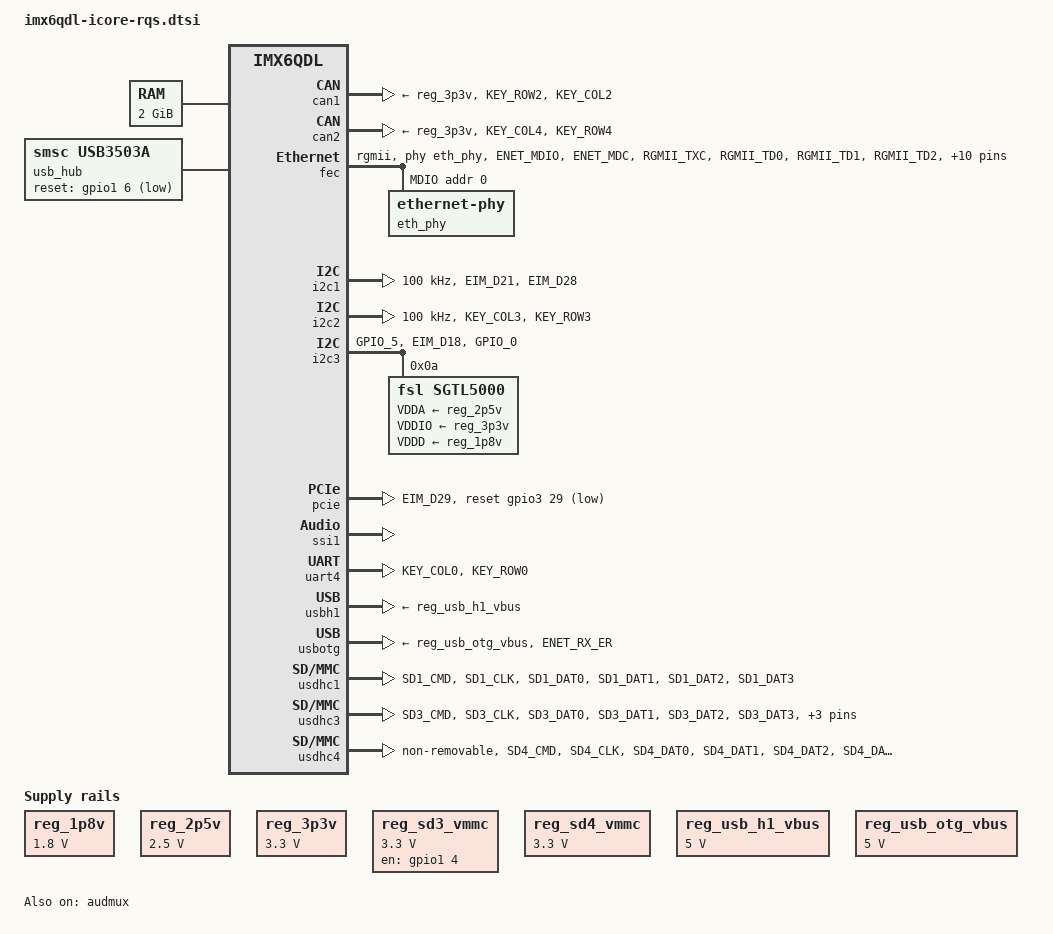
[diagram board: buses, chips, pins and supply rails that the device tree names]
/*
 * Copyright (C) 2015 Amarula Solutions B.V.
 *
 * This file is dual-licensed: you can use it either under the terms
 * of the GPL or the X11 license, at your option. Note that this dual
 * licensing only applies to this file, and not this project as a
 * whole.
 *
 *  a) This file is free software; you can redistribute it and/or
 *     modify it under the terms of the GNU General Public License
 *     version 2 as published by the Free Software Foundation.
 *
 *     This file is distributed in the hope that it will be useful,
 *     but WITHOUT ANY WARRANTY; without even the implied warranty of
 *     MERCHANTABILITY or FITNESS FOR A PARTICULAR PURPOSE.  See the
 *     GNU General Public License for more details.
 *
 * Or, alternatively,
 *
 *  b) Permission is hereby granted, free of charge, to any person
 *     obtaining a copy of this software and associated documentation
 *     files (the "Software"), to deal in the Software without
 *     restriction, including without limitation the rights to use,
 *     copy, modify, merge, publish, distribute, sublicense, and/or
 *     sell copies of the Software, and to permit persons to whom the
 *     Software is furnished to do so, subject to the following
 *     conditions:
 *
 *     The above copyright notice and this permission notice shall be
 *     included in all copies or substantial portions of the Software.
 *
 *     THE SOFTWARE IS PROVIDED "AS IS", WITHOUT WARRANTY OF ANY KIND,
 *     EXPRESS OR IMPLIED, INCLUDING BUT NOT LIMITED TO THE WARRANTIES
 *     OF MERCHANTABILITY, FITNESS FOR A PARTICULAR PURPOSE AND
 *     NONINFRINGEMENT. IN NO EVENT SHALL THE AUTHORS OR COPYRIGHT
 *     HOLDERS BE LIABLE FOR ANY CLAIM, DAMAGES OR OTHER LIABILITY,
 *     WHETHER IN AN ACTION OF CONTRACT, TORT OR OTHERWISE, ARISING
 *     FROM, OUT OF OR IN CONNECTION WITH THE SOFTWARE OR THE USE OR
 *     OTHER DEALINGS IN THE SOFTWARE.
 */

#include <dt-bindings/gpio/gpio.h>
#include <dt-bindings/clock/imx6qdl-clock.h>
#include <dt-bindings/sound/fsl-imx-audmux.h>

/ {
	memory@10000000 {
		reg = <0x10000000 0x80000000>;
	};

	reg_1p8v: regulator-1p8v {
		compatible = "regulator-fixed";
		regulator-name = "1P8V";
		regulator-min-microvolt = <1800000>;
		regulator-max-microvolt = <1800000>;
		regulator-boot-on;
		regulator-always-on;
	};

	reg_2p5v: regulator-2p5v {
		compatible = "regulator-fixed";
		regulator-name = "2P5V";
		regulator-min-microvolt = <2500000>;
		regulator-max-microvolt = <2500000>;
		regulator-boot-on;
		regulator-always-on;
	};

	reg_3p3v: regulator-3p3v {
		compatible = "regulator-fixed";
		regulator-name = "3P3V";
		regulator-min-microvolt = <3300000>;
		regulator-max-microvolt = <3300000>;
		regulator-boot-on;
		regulator-always-on;
	};

	reg_sd3_vmmc: regulator-sd3-vmmc {
		compatible = "regulator-fixed";
		regulator-name = "P3V3_SD3_SWITCHED";
		regulator-min-microvolt = <3300000>;
		regulator-max-microvolt = <3300000>;
		gpio = <&gpio1 4 GPIO_ACTIVE_LOW>;
		enable-active-high;
	};

	reg_sd4_vmmc: regulator-sd4-vmmc {
		compatible = "regulator-fixed";
		regulator-name = "P3V3_SD4_SWITCHED";
		regulator-min-microvolt = <3300000>;
		regulator-max-microvolt = <3300000>;
		regulator-boot-on;
		regulator-always-on;
	};

	reg_usb_h1_vbus: regulator-usb-h1-vbus {
		compatible = "regulator-fixed";
		regulator-name = "usb_h1_vbus";
		regulator-min-microvolt = <5000000>;
		regulator-max-microvolt = <5000000>;
		regulator-boot-on;
		regulator-always-on;
	};

	reg_usb_otg_vbus: regulator-usb-otg-vbus {
		compatible = "regulator-fixed";
		regulator-name = "usb_otg_vbus";
		regulator-min-microvolt = <5000000>;
		regulator-max-microvolt = <5000000>;
		regulator-boot-on;
		regulator-always-on;
	};

	usb_hub: usb-hub {
		compatible = "smsc,usb3503a";
		pinctrl-names = "default";
		pinctrl-0 = <&pinctrl_usbhub>;
		reset-gpios = <&gpio1 6 GPIO_ACTIVE_LOW>;
		clocks = <&clks IMX6QDL_CLK_LVDS2_GATE>;
		clock-names = "refclk";
	};

	sound {
		compatible = "simple-audio-card";
		simple-audio-card,name = "imx6qdl-icore-rqs-sgtl5000";
		simple-audio-card,format = "i2s";
		simple-audio-card,bitclock-master = <&dailink_master>;
		simple-audio-card,frame-master = <&dailink_master>;
		simple-audio-card,widgets =
			"Microphone", "Mic Jack",
			"Headphone", "Headphone Jack",
			"Line", "Line In Jack",
			"Speaker", "Line Out Jack",
			"Speaker", "Ext Spk";
		simple-audio-card,routing =
			"MIC_IN", "Mic Jack",
			"Mic Jack", "Mic Bias",
			"Headphone Jack", "HP_OUT";

		simple-audio-card,cpu {
			sound-dai = <&ssi1>;
		};

		dailink_master: simple-audio-card,codec {
			sound-dai = <&sgtl5000>;
		};
	};
};

&audmux {
	pinctrl-names = "default";
	pinctrl-0 = <&pinctrl_audmux>;
	status = "okay";

	audmux_ssi1 {
		fsl,audmux-port = <MX51_AUDMUX_PORT1_SSI0>;
		fsl,port-config = <
			(IMX_AUDMUX_V2_PTCR_TFSDIR |
			IMX_AUDMUX_V2_PTCR_TFSEL(MX51_AUDMUX_PORT4) |
			IMX_AUDMUX_V2_PTCR_TCLKDIR |
			IMX_AUDMUX_V2_PTCR_TCSEL(MX51_AUDMUX_PORT4) |
			IMX_AUDMUX_V2_PTCR_SYN)
			IMX_AUDMUX_V2_PDCR_RXDSEL(MX51_AUDMUX_PORT4)
		>;
	};

	audmux_aud4 {
		fsl,audmux-port = <MX51_AUDMUX_PORT4>;
		fsl,port-config = <
			IMX_AUDMUX_V2_PTCR_SYN
			IMX_AUDMUX_V2_PDCR_RXDSEL(MX51_AUDMUX_PORT1_SSI0)
		>;
	};
};

&can1 {
	pinctrl-names = "default";
	pinctrl-0 = <&pinctrl_can1>;
	xceiver-supply = <&reg_3p3v>;
	status = "okay";
};

&can2 {
	pinctrl-names = "default";
	pinctrl-0 = <&pinctrl_can2>;
	xceiver-supply = <&reg_3p3v>;
	status = "okay";
};

&clks {
	assigned-clocks = <&clks IMX6QDL_CLK_LVDS2_SEL>;
	assigned-clock-parents = <&clks IMX6QDL_CLK_OSC>;
};

&fec {
	pinctrl-names = "default";
	pinctrl-0 = <&pinctrl_enet>;
	phy-handle = <&eth_phy>;
	phy-mode = "rgmii";
	status = "okay";

	mdio {
		#address-cells = <1>;
		#size-cells = <0>;

		eth_phy: ethernet-phy@0 {
			reg = <0x0>;
			rxc-skew-ps = <1140>;
			txc-skew-ps = <1140>;
			txen-skew-ps = <600>;
			rxdv-skew-ps = <240>;
			rxd0-skew-ps = <420>;
			rxd1-skew-ps = <600>;
			rxd2-skew-ps = <420>;
			rxd3-skew-ps = <240>;
			txd0-skew-ps = <60>;
			txd1-skew-ps = <60>;
			txd2-skew-ps = <60>;
			txd3-skew-ps = <240>;
		};
	};
};

&i2c1 {
	clock-frequency = <100000>;
	pinctrl-names = "default";
	pinctrl-0 = <&pinctrl_i2c1>;
	status = "okay";
};

&i2c2 {
	clock-frequency = <100000>;
	pinctrl-names = "default";
	pinctrl-0 = <&pinctrl_i2c2>;
	status = "okay";
};

&i2c3 {
	pinctrl-names = "default";
	pinctrl-0 = <&pinctrl_i2c3>;
	status = "okay";

	sgtl5000: codec@a {
		#sound-dai-cells = <0>;
		compatible = "fsl,sgtl5000";
		reg = <0x0a>;
		clocks = <&clks IMX6QDL_CLK_CKO>;
		VDDA-supply = <&reg_2p5v>;
		VDDIO-supply = <&reg_3p3v>;
		VDDD-supply = <&reg_1p8v>;
	};
};

&pcie {
	pinctrl-names = "default";
	pinctrl-0 = <&pinctrl_pcie>;
	reset-gpio = <&gpio3 29 GPIO_ACTIVE_LOW>;
	status = "okay";
};

&ssi1 {
	fsl,mode = "i2s-slave";
	status = "okay";
};

&uart4 {
	pinctrl-names = "default";
	pinctrl-0 = <&pinctrl_uart4>;
	status = "okay";
};

&usbh1 {
	vbus-supply = <&reg_usb_h1_vbus>;
	disable-over-current;
	clocks = <&clks IMX6QDL_CLK_USBOH3>;
	status = "okay";
};

&usbotg {
	vbus-supply = <&reg_usb_otg_vbus>;
	pinctrl-names = "default";
	pinctrl-0 = <&pinctrl_usbotg>;
	disable-over-current;
	status = "okay";
};

&usdhc1 {
	pinctrl-names = "default";
	pinctrl-0 = <&pinctrl_usdhc1>;
	no-1-8-v;
	status = "okay";
};

&usdhc3 {
	pinctrl-names = "default", "state_100mhz", "state_200mhz";
	pinctrl-0 = <&pinctrl_usdhc3>;
	pinctrl-1 = <&pinctrl_usdhc3_100mhz>;
	pinctrl-2 = <&pinctrl_usdhc3_200mhz>;
	vmcc-supply = <&reg_sd3_vmmc>;
	cd-gpios = <&gpio1 1 GPIO_ACTIVE_LOW>;
	bus-witdh = <4>;
	no-1-8-v;
	status = "okay";
};

&usdhc4 {
	pinctrl-names = "default", "state_100mhz", "state_200mhz";
	pinctrl-0 = <&pinctrl_usdhc4>;
	pinctrl-1 = <&pinctrl_usdhc4_100mhz>;
	pinctrl-2 = <&pinctrl_usdhc4_200mhz>;
	vmcc-supply = <&reg_sd4_vmmc>;
	bus-witdh = <8>;
	no-1-8-v;
	non-removable;
	status = "okay";
};

&iomuxc {
	pinctrl_audmux: audmux {
		fsl,pins = <
			MX6QDL_PAD_DISP0_DAT20__AUD4_TXC  0x130b0
			MX6QDL_PAD_DISP0_DAT21__AUD4_TXD  0x110b0
			MX6QDL_PAD_DISP0_DAT22__AUD4_TXFS 0x130b0
			MX6QDL_PAD_DISP0_DAT23__AUD4_RXD  0x130b0
		>;
	};

	pinctrl_enet: enetgrp {
		fsl,pins = <
			MX6QDL_PAD_ENET_MDIO__ENET_MDIO       0x1b0b0
			MX6QDL_PAD_ENET_MDC__ENET_MDC         0x1b0b0
			MX6QDL_PAD_RGMII_TXC__RGMII_TXC       0x1b030
			MX6QDL_PAD_RGMII_TD0__RGMII_TD0       0x1b030
			MX6QDL_PAD_RGMII_TD1__RGMII_TD1       0x1b030
			MX6QDL_PAD_RGMII_TD2__RGMII_TD2       0x1b030
			MX6QDL_PAD_RGMII_TD3__RGMII_TD3       0x1b030
			MX6QDL_PAD_RGMII_TX_CTL__RGMII_TX_CTL 0x1b030
			MX6QDL_PAD_ENET_REF_CLK__ENET_TX_CLK  0x1b0b0
			MX6QDL_PAD_RGMII_RXC__RGMII_RXC       0x1b030
			MX6QDL_PAD_RGMII_RD0__RGMII_RD0       0x1b030
			MX6QDL_PAD_RGMII_RD1__RGMII_RD1       0x1b030
			MX6QDL_PAD_RGMII_RD2__RGMII_RD2       0x1b030
			MX6QDL_PAD_RGMII_RD3__RGMII_RD3       0x1b030
			MX6QDL_PAD_RGMII_RX_CTL__RGMII_RX_CTL 0x1b030
			MX6QDL_PAD_ENET_TX_EN__ENET_TX_EN     0x1b0b0
		>;
	};

	pinctrl_can1: can1grp {
		fsl,pins = <
			MX6QDL_PAD_KEY_ROW2__FLEXCAN1_RX 0x1b020
			MX6QDL_PAD_KEY_COL2__FLEXCAN1_TX 0x1b020
		>;
	};

	pinctrl_can2: can2grp {
		fsl,pins = <
			MX6QDL_PAD_KEY_COL4__FLEXCAN2_TX 0x1b020
			MX6QDL_PAD_KEY_ROW4__FLEXCAN2_RX 0x1b020
		>;
	};

	pinctrl_i2c1: i2c1grp {
		fsl,pins = <
			MX6QDL_PAD_EIM_D21__I2C1_SCL 0x4001b8b1
			MX6QDL_PAD_EIM_D28__I2C1_SDA 0x4001b8b1
		>;
	};

	pinctrl_i2c2: i2c2grp {
		fsl,pins = <
			MX6QDL_PAD_KEY_COL3__I2C2_SCL 0x4001b8b1
			MX6QDL_PAD_KEY_ROW3__I2C2_SDA 0x4001b8b1
		>;
	};

	pinctrl_i2c3: i2c3grp {
		fsl,pins = <
			MX6QDL_PAD_GPIO_5__I2C3_SCL  0x4001b8b1
			MX6QDL_PAD_EIM_D18__I2C3_SDA 0x4001b8b1
			MX6QDL_PAD_GPIO_0__CCM_CLKO1    0x130b0
		>;
	};

	pinctrl_pcie: pciegrp {
		fsl,pins = <
			MX6QDL_PAD_EIM_D29__GPIO3_IO29 0x1f059	/* PCIe Reset */
		>;
	};

	pinctrl_uart4: uart4grp {
		fsl,pins = <
			MX6QDL_PAD_KEY_COL0__UART4_TX_DATA 0x1b0b1
			MX6QDL_PAD_KEY_ROW0__UART4_RX_DATA 0x1b0b1
		>;
	};

	pinctrl_usbhub: usbhubgrp {
		fsl,pins = <
			MX6QDL_PAD_GPIO_6__GPIO1_IO06  0x1f059	/* HUB USB Reset */
		>;
	};

	pinctrl_usbotg: usbotggrp {
		fsl,pins = <
			MX6QDL_PAD_ENET_RX_ER__USB_OTG_ID 0x17059
		>;
	};

	pinctrl_usdhc1: usdhc1grp {
		fsl,pins = <
			MX6QDL_PAD_SD1_CMD__SD1_CMD    0x17071
			MX6QDL_PAD_SD1_CLK__SD1_CLK    0x10071
			MX6QDL_PAD_SD1_DAT0__SD1_DATA0 0x17071
			MX6QDL_PAD_SD1_DAT1__SD1_DATA1 0x17071
			MX6QDL_PAD_SD1_DAT2__SD1_DATA2 0x17071
			MX6QDL_PAD_SD1_DAT3__SD1_DATA3 0x17071
		>;
	};

	pinctrl_usdhc3: usdhc3grp {
		fsl,pins = <
			MX6QDL_PAD_SD3_CMD__SD3_CMD    0x17070
			MX6QDL_PAD_SD3_CLK__SD3_CLK    0x10070
			MX6QDL_PAD_SD3_DAT0__SD3_DATA0 0x17070
			MX6QDL_PAD_SD3_DAT1__SD3_DATA1 0x17070
			MX6QDL_PAD_SD3_DAT2__SD3_DATA2 0x17070
			MX6QDL_PAD_SD3_DAT3__SD3_DATA3 0x17070
			MX6QDL_PAD_GPIO_1__GPIO1_IO01  0x1f059	/* CD */
			MX6QDL_PAD_GPIO_4__GPIO1_IO04  0x1f059	/* PWR */
		>;
	};

	pinctrl_usdhc3_100mhz: usdhc3grp_100mhz {
		fsl,pins = <
			MX6QDL_PAD_SD3_CMD__SD3_CMD    0x170B1
			MX6QDL_PAD_SD3_CLK__SD3_CLK    0x100B1
			MX6QDL_PAD_SD3_DAT0__SD3_DATA0 0x170B1
			MX6QDL_PAD_SD3_DAT1__SD3_DATA1 0x170B1
			MX6QDL_PAD_SD3_DAT2__SD3_DATA2 0x170B1
			MX6QDL_PAD_SD3_DAT3__SD3_DATA3 0x170B1
		>;
	};

	pinctrl_usdhc3_200mhz: usdhc3grp_200mhz {
		fsl,pins = <
			MX6QDL_PAD_SD3_CMD__SD3_CMD    0x170F9
			MX6QDL_PAD_SD3_CLK__SD3_CLK    0x100F9
			MX6QDL_PAD_SD3_DAT0__SD3_DATA0 0x170F9
			MX6QDL_PAD_SD3_DAT1__SD3_DATA1 0x170F9
			MX6QDL_PAD_SD3_DAT2__SD3_DATA2 0x170F9
			MX6QDL_PAD_SD3_DAT3__SD3_DATA3 0x170F9
		>;
	};

	pinctrl_usdhc4: usdhc4grp {
		fsl,pins = <
			MX6QDL_PAD_SD4_CMD__SD4_CMD    0x17070
			MX6QDL_PAD_SD4_CLK__SD4_CLK    0x10070
			MX6QDL_PAD_SD4_DAT0__SD4_DATA0 0x17070
			MX6QDL_PAD_SD4_DAT1__SD4_DATA1 0x17070
			MX6QDL_PAD_SD4_DAT2__SD4_DATA2 0x17070
			MX6QDL_PAD_SD4_DAT3__SD4_DATA3 0x17070
			MX6QDL_PAD_SD4_DAT4__SD4_DATA4 0x17070
			MX6QDL_PAD_SD4_DAT5__SD4_DATA5 0x17070
			MX6QDL_PAD_SD4_DAT6__SD4_DATA6 0x17070
			MX6QDL_PAD_SD4_DAT7__SD4_DATA7 0x17070
		>;
	};

	pinctrl_usdhc4_100mhz: usdhc4grp_100mhz {
		fsl,pins = <
			MX6QDL_PAD_SD4_CMD__SD4_CMD    0x170B1
			MX6QDL_PAD_SD4_CLK__SD4_CLK    0x100B1
			MX6QDL_PAD_SD4_DAT0__SD4_DATA0 0x170B1
			MX6QDL_PAD_SD4_DAT1__SD4_DATA1 0x170B1
			MX6QDL_PAD_SD4_DAT2__SD4_DATA2 0x170B1
			MX6QDL_PAD_SD4_DAT3__SD4_DATA3 0x170B1
			MX6QDL_PAD_SD4_DAT4__SD4_DATA4 0x170B1
			MX6QDL_PAD_SD4_DAT5__SD4_DATA5 0x170B1
			MX6QDL_PAD_SD4_DAT6__SD4_DATA6 0x170B1
			MX6QDL_PAD_SD4_DAT7__SD4_DATA7 0x170B1
		>;
	};

	pinctrl_usdhc4_200mhz: usdhc4grp_200mhz {
		fsl,pins = <
			MX6QDL_PAD_SD4_CMD__SD4_CMD    0x170F9
			MX6QDL_PAD_SD4_CLK__SD4_CLK    0x100F9
			MX6QDL_PAD_SD4_DAT0__SD4_DATA0 0x170F9
			MX6QDL_PAD_SD4_DAT1__SD4_DATA1 0x170F9
			MX6QDL_PAD_SD4_DAT2__SD4_DATA2 0x170F9
			MX6QDL_PAD_SD4_DAT3__SD4_DATA3 0x170F9
			MX6QDL_PAD_SD4_DAT4__SD4_DATA4 0x170F9
			MX6QDL_PAD_SD4_DAT5__SD4_DATA5 0x170F9
			MX6QDL_PAD_SD4_DAT6__SD4_DATA6 0x170F9
			MX6QDL_PAD_SD4_DAT7__SD4_DATA7 0x170F9
		>;
	};
};
